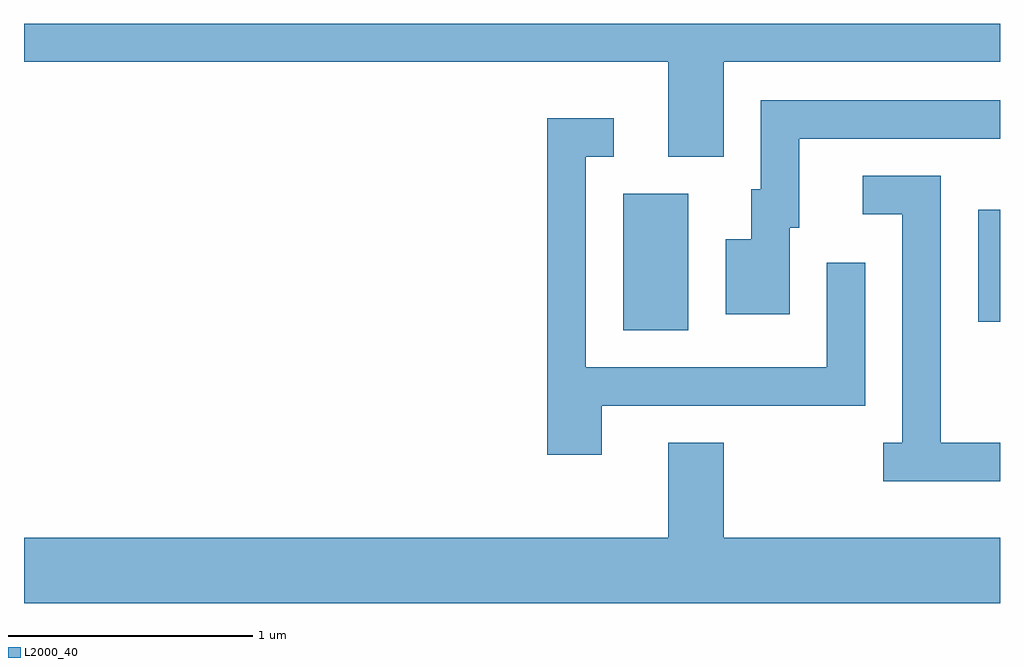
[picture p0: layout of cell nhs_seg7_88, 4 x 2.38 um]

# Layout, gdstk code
import gdstk
lib = gdstk.Library(unit=1e-6, precision=1e-09)
def R(c, l, rs):  # rectangles x0, y0, x1, y1
    for r in rs: c.add(gdstk.rectangle(r[:2], r[2:], *l))
def P(c, l, *ps):  # polygons
    for p in ps: c.add(gdstk.Polygon(p, *l))
L2000_40 = (2000, 40)

nhs_seg7_88 = lib.new_cell('nhs_seg7_88')
R(nhs_seg7_88, L2000_40, [(190.066,1710.996,190.334,1711.554), (191.521,1711.031,191.611,1711.489)])
P(nhs_seg7_88, L2000_40, [(190.479,1712.096),(191.611,1712.096),(191.611,1712.252),(187.611,1712.252),(187.611,1712.096),(190.251,1712.096),(190.251,1711.706),(190.479,1711.706)],
  [(190.749,1711.416),(190.789,1711.416),(190.789,1711.781),(191.611,1711.781),(191.611,1711.939),(190.631,1711.939),(190.631,1711.574),(190.591,1711.574),(190.591,1711.369),(190.486,1711.369),(190.486,1711.061),(190.749,1711.061)],
  [(189.979,1710.686),(191.059,1710.686),(191.059,1711.273),(190.901,1711.273),(190.901,1710.844),(189.914,1710.844),(189.914,1711.706),(190.028,1711.706),(190.028,1711.864),(189.756,1711.864),(189.756,1710.486),(189.979,1710.486)],
  [(191.611,1710.534),(191.369,1710.534),(191.369,1711.629),(191.048,1711.629),(191.048,1711.471),(191.211,1711.471),(191.211,1710.534),(191.133,1710.534),(191.133,1710.376),(191.611,1710.376)],
  [(191.611,1710.144),(190.479,1710.144),(190.479,1710.534),(190.251,1710.534),(190.251,1710.144),(187.611,1710.144),(187.611,1709.876),(191.611,1709.876)])

lib.write_gds('nhs_seg7_88.gds')
